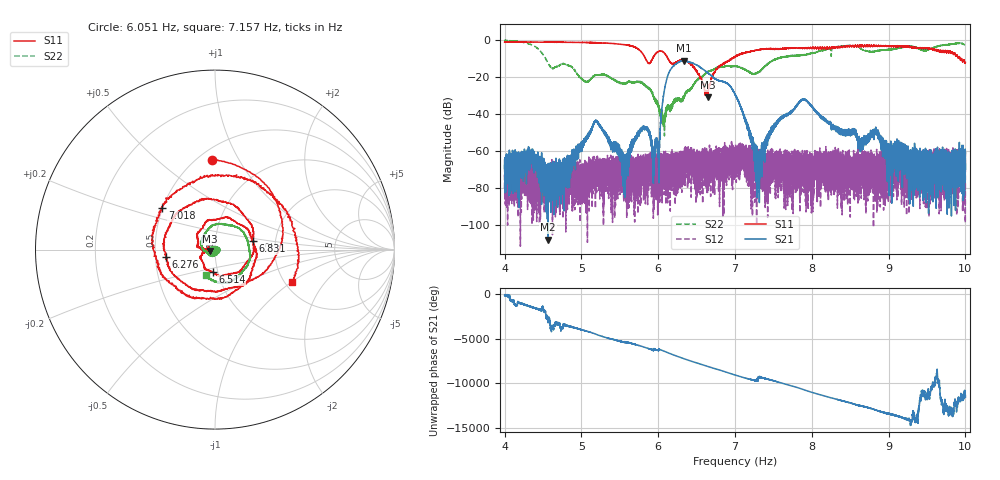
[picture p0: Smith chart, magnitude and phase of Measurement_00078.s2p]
!Created with skrf (http://scikit-rf.org).
# Hz S RI R 50.0
!freq ReS11 ImS11 ReS21 ImS21 ReS12 ImS12 ReS22 ImS22
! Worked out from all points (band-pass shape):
!   14001 points, 4 Hz to 10 Hz, reference 50 ohm
!   highest |S21| = -11.07 dB at 6.338 Hz (marker M1); lowest = -107.7 dB at 4.565 Hz (marker M2)
!   |S21| within 3 dB of the highest: 6.196 Hz to 6.526 Hz (330 mHz wide, 5.19 % of centre); 6.526284 Hz to 6.526963 Hz (679 uHz wide, 0.0104 % of centre) (the widest 2 of 3)
!   lowest |S11| = -30.9 dB at 6.643 Hz (marker M3), VSWR 1.06, Z = 47.3 - j0.693 ohm
!   |S11| at or under -10 dB: 5.836 Hz to 5.926 Hz (90.25 mHz wide, 1.53 % of centre); 6.128 Hz to 6.958 Hz (830.7 mHz wide, 12.7 % of centre); 9.950784 Hz to end of sweep (the widest 3 of 10)
!   |S22| runs from -51.7 to -0.2 dB; largest |S21 - S12| = 0.28
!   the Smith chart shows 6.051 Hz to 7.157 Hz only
!   S11 on the Smith chart (normalised r, x): 6.051 Hz: 0.58, +0.78; 6.276 Hz: 0.57, -0.05; 6.514 Hz: 0.94, -0.24; 6.831 Hz: 1.53, +0.15; 7.018 Hz: 0.50, +0.27; 7.157 Hz: 2.18, -1.02
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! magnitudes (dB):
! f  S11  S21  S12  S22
! 4 Hz  -1.0  -67.5  -72.5  -0.2
! 4.565 Hz  -1.1  -107.7  -76.8  -12.5
! 5 Hz  -1.2  -58.2  -67.7  -20.8
! 5.192 Hz  -1.4  -43.5  -65.1  -19.0
! 5.556 Hz  -2.4  -70.1  -68.6  -23.6
! 5.799 Hz  -7.3  -47.2  -68.7  -23.5
! 6 Hz  -6.2  -60.8  -66.3  -35.5
! 6.051 Hz  -6.0  -35.8  -74.6  -41.1
! 6.132 Hz  -10.3  -18.3  -78.0  -34.3
! 6.276 Hz  -11.2  -11.7  -62.1  -32.1
! 6.338 Hz  -10.8  -11.1  -69.4  -30.8
! 6.514 Hz  -17.9  -13.7  -66.4  -21.3
! 6.643 Hz  -30.9  -17.6  -73.4  -17.1
! 6.831 Hz  -13.2  -22.2  -71.0  -14.4
! 7 Hz  -9.0  -29.3  -62.9  -13.9
! 7.018 Hz  -8.5  -30.8  -59.0  -13.9
! 7.157 Hz  -6.6  -46.1  -66.4  -16.6
! 7.309 Hz  -5.2  -60.2  -64.4  -17.3
! 7.576 Hz  -4.8  -42.3  -74.8  -9.7
! 8 Hz  -4.3  -35.9  -64.3  -6.9
! 9 Hz  -3.3  -68.2  -77.4  -5.1
! 10 Hz  -12.0  -67.1  -62.1  -3.1
